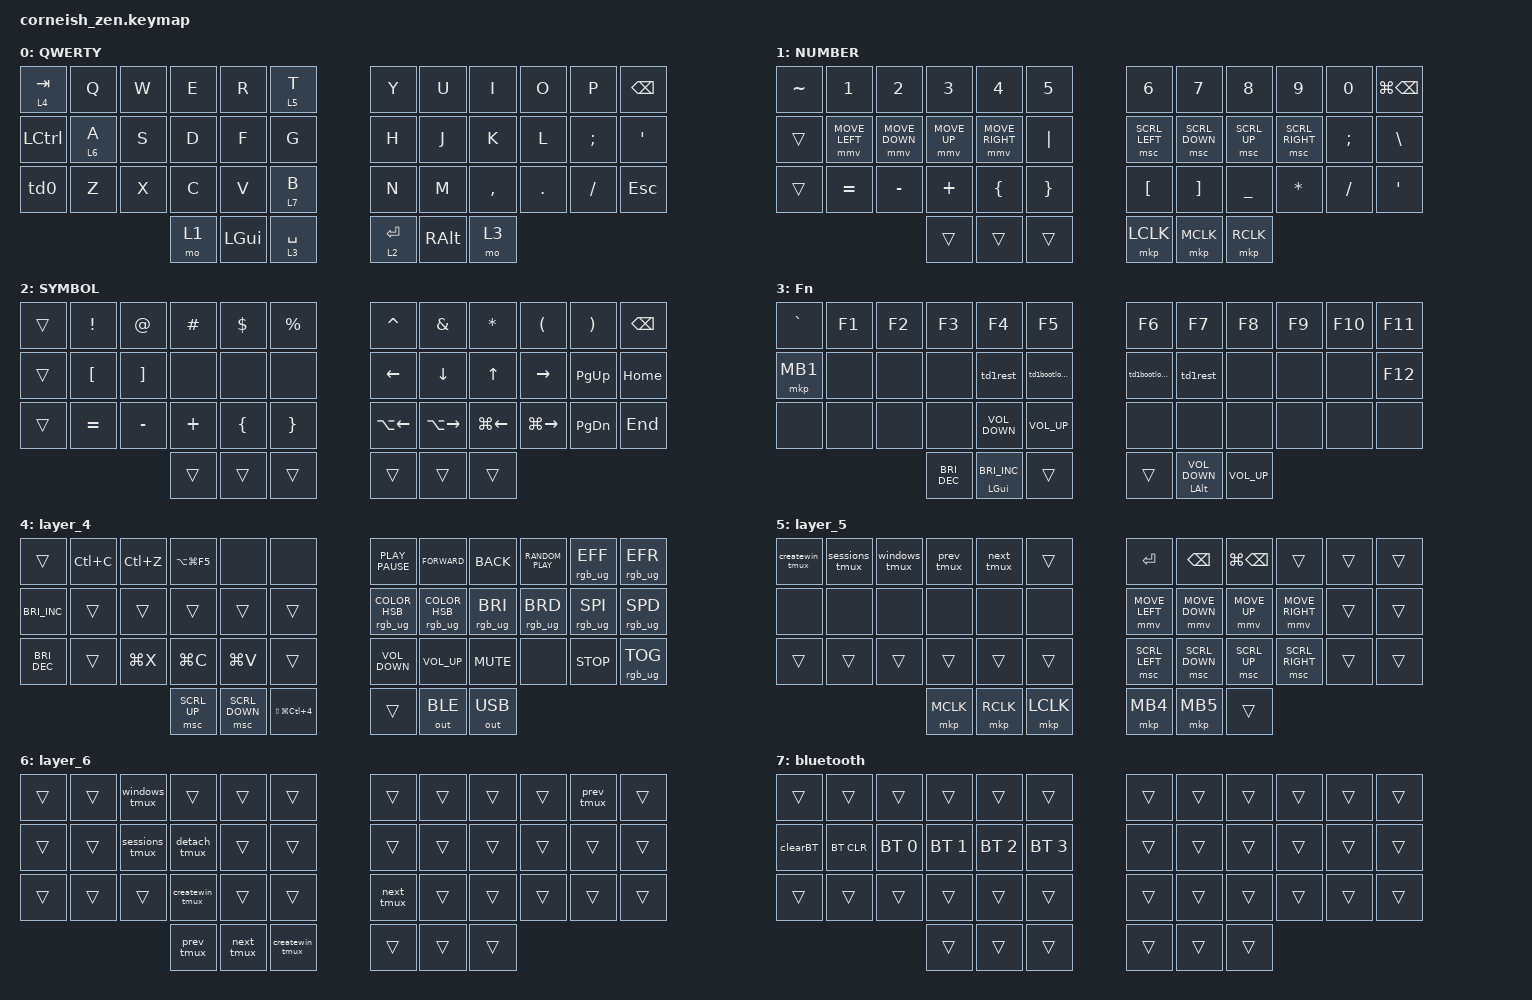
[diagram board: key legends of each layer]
/*
 * Copyright (c) 2020 The ZMK Contributors
 *
 * SPDX-License-Identifier: MIT
 */

#include <behaviors.dtsi>
#include <dt-bindings/zmk/bt.h>
#include <dt-bindings/zmk/keys.h>
#include <dt-bindings/zmk/outputs.h>
#include <dt-bindings/zmk/pointing.h>
#include <dt-bindings/zmk/rgb.h>

/ {
    chosen {
        zmk,matrix_transform = &default_transform;

        // zmk,matrix_transform = &five_column_transform;
    };
};

/ {
    behaviors {
        td0: td0 {
            compatible = "zmk,behavior-tap-dance";
            label = "TD0";
            #binding-cells = <0>;
            bindings = <&kp LEFT_SHIFT>, <&kp CAPS>;
        };

        td1rest: td1rest {
            compatible = "zmk,behavior-tap-dance";
            label = "TD1REST";
            #binding-cells = <0>;
            bindings = <&trans>, <&sys_reset>;
        };

        td1bootloader: td1bootloader {
            compatible = "zmk,behavior-tap-dance";
            label = "TD1BOOTLOADER";
            #binding-cells = <0>;
            bindings = <&none>, <&bootloader>;
        };

        td4layer4: td4layer4 {
            compatible = "zmk,behavior-hold-tap";
            label = "TD4LAYER4";
            bindings = <&lt>, <&kp>;

            #binding-cells = <2>;
            tapping-term-ms = <180>;
            flavor = "hold-preferred";
        };

        clearBT: clearBT {
            compatible = "zmk,behavior-tap-dance";
            label = "CLEARBT";
            #binding-cells = <0>;
            bindings = <&none>, <&bt BT_CLR_ALL>;
        };
    };

    macros {
        screenshot: screenshot {
            compatible = "zmk,behavior-macro";
            #binding-cells = <0>;
            bindings = <&none>;
            label = "SCREENSHOT";
        };

        next_tmux: next_tmux {
            compatible = "zmk,behavior-macro";
            #binding-cells = <0>;
            bindings = <&kp LC(A) &kp N>;
            label = "NEXT_TMUX";
        };

        prev_tmux: prev_tmux {
            compatible = "zmk,behavior-macro";
            #binding-cells = <0>;
            bindings = <&kp LC(A) &kp P>;
            label = "PREV_TMUX";
        };

        sessions_tmux: sessions_tmux {
            compatible = "zmk,behavior-macro";
            #binding-cells = <0>;
            bindings = <&kp LC(A) &kp S>;
            label = "SESSIONS_TMUX";
        };

        windows_tmux: windows_tmux {
            compatible = "zmk,behavior-macro";
            #binding-cells = <0>;
            bindings = <&kp LC(A) &kp W>;
            label = "WINDOWS_TMUX";
        };

        createwin_tmux: createwin_tmux {
            compatible = "zmk,behavior-macro";
            #binding-cells = <0>;
            bindings = <&kp LC(A) &kp C>;
            label = "CREATEWIN_TMUX";
        };

        detach_tmux: detach_tmux {
            compatible = "zmk,behavior-macro";
            #binding-cells = <0>;
            bindings = <&kp LC(A) &kp D>;
            label = "DETACH_TMUX";
        };
    };

    combos {
        compatible = "zmk,combos";

        mouser {
            bindings = <&kp RA(SPACE)>;
            key-positions = <36 37 38>;
        };
    };

    keymap {
        compatible = "zmk,keymap";

        default_layer {
            display-name = "QWERTY";

            // --------------------------------------------------------------------------------
            // |  TAB |  Q  |  W  |  E  |  R  |  T  |   |  Y  |  U   |  I  |  O  |  P  | BKSP |
            // | CTRL |  A  |  S  |  D  |  F  |  G  |   |  H  |  J   |  K  |  L  |  ;  |  '   | 
            // | SHFT |  Z  |  X  |  C  |  V  |  B  |   |  N  |  M   |  ,  |  .  |  /  | ESC  |
            //                    | GUI | LWR | SPC |   | ENT | RSE  | ALT |

            bindings = <
&lt 4 TAB  &kp Q    &kp W  &kp E  &kp R         &lt 5 T        &kp Y        &kp U          &kp I      &kp O    &kp P     &kp BSPC
&kp LCTRL  &lt 6 A  &kp S  &kp D  &kp F         &kp G          &kp H        &kp J          &kp K      &kp L    &kp SEMI  &kp SQT
&td0       &kp Z    &kp X  &kp C  &kp V         &lt 7 B        &kp N        &kp M          &kp COMMA  &kp DOT  &kp FSLH  &kp ESC
                           &mo 1  &kp LEFT_GUI  &lt 3 SPACE    &lt 2 ENTER  &kp RIGHT_ALT  &mo 3
            >;
        };

        lower_layer {
            display-name = "NUMBER";

            // -----------------------------------------------------------------------------------------
            // |  TAB |  1  |  2  |  3  |  4  |  5  |   |  6  |  7  |  8  |  9  |  0  | BKSP |
            // | BTCLR| BT1 | BT2 | BT3 | BT4 | BT5 |   | LFT | DWN |  UP | RGT |     |      |
            // | SHFT |     |     |     |     |     |   |     |     |     |     |     |      |
            //                    | GUI |     | SPC |   | ENT |     | ALT |

            bindings = <
&kp TILDE  &kp N1          &kp N2          &kp N3        &kp N4           &kp N5             &kp N6            &kp N7             &kp N8        &kp N9           &kp N0         &kp LG(BSPC)
&trans     &mmv MOVE_LEFT  &mmv MOVE_DOWN  &mmv MOVE_UP  &mmv MOVE_RIGHT  &kp PIPE           &msc SCRL_LEFT    &msc SCRL_DOWN     &msc SCRL_UP  &msc SCRL_RIGHT  &kp SEMICOLON  &kp BACKSLASH
&trans     &kp EQUAL       &kp MINUS       &kp PLUS      &kp LEFT_BRACE   &kp RIGHT_BRACE    &kp LEFT_BRACKET  &kp RIGHT_BRACKET  &kp UNDER     &kp ASTERISK     &kp SLASH      &kp APOS
                                           &trans        &trans           &trans             &mkp LCLK         &mkp MCLK          &mkp RCLK
            >;
        };

        raise_layer {
            display-name = "SYMBOL";

            // -----------------------------------------------------------------------------------------
            // |  TAB |  !  |  @  |  #  |  $  |  %  |   |  ^  |  &  |  *  |  (  |  )  | BKSP |
            // | CTRL |     |     |     |     |     |   |  -  |  =  |  [  |  ]  |  \  |  `   |
            // | SHFT |     |     |     |     |     |   |  _  |  +  |  {  |  }  | "|" |  ~   |
            //                    | GUI |     | SPC |   | ENT |     | ALT |

            bindings = <
&trans  &kp EXCL          &kp AT             &kp HASH  &kp DLLR        &kp PRCNT          &kp CARET     &kp AMPS       &kp ASTRK     &kp LPAR       &kp RPAR       &kp BSPC
&trans  &kp LEFT_BRACKET  &kp RIGHT_BRACKET  &none     &none           &none              &kp LEFT      &kp DOWN       &kp UP_ARROW  &kp RIGHT      &kp PAGE_UP    &kp HOME
&trans  &kp EQUAL         &kp MINUS          &kp PLUS  &kp LEFT_BRACE  &kp RIGHT_BRACE    &kp LA(LEFT)  &kp LA(RIGHT)  &kp LG(LEFT)  &kp LG(RIGHT)  &kp PAGE_DOWN  &kp END
                                             &trans    &trans          &trans             &trans        &trans         &trans
            >;
        };

        layer_3 {
            display-name = "Fn";
            bindings = <
&kp GRAVE  &kp F1  &kp F2  &kp F3                &kp F4                         &kp F5             &kp F6          &kp F7                      &kp F8           &kp F9  &kp F10  &kp F11
&mkp MB1   &none   &none   &none                 &td1rest                       &td1bootloader     &td1bootloader  &td1rest                    &none            &none   &none    &kp F12
&none      &none   &none   &none                 &kp C_VOLUME_DOWN              &kp C_VOLUME_UP    &none           &none                       &none            &none   &none    &none
                           &kp C_BRIGHTNESS_DEC  &mt LEFT_GUI C_BRIGHTNESS_INC  &trans             &trans          &mt LEFT_ALT C_VOLUME_DOWN  &kp C_VOLUME_UP
            >;
        };

        layer_4 {
            bindings = <
&trans                &kp LC(C)  &kp LC(Z)  &kp LA(LG(F5))  &none           &none                       &kp K_PLAY_PAUSE                   &kp K_FORWARD                   &kp K_BACK       &kp C_RANDOM_PLAY  &rgb_ug RGB_EFF  &rgb_ug RGB_EFR
&kp C_BRIGHTNESS_INC  &trans     &trans     &trans          &trans          &trans                      &rgb_ug RGB_COLOR_HSB(121,100,50)  &rgb_ug RGB_COLOR_HSB(0,96,48)  &rgb_ug RGB_BRI  &rgb_ug RGB_BRD    &rgb_ug RGB_SPI  &rgb_ug RGB_SPD
&kp C_BRIGHTNESS_DEC  &trans     &kp LG(X)  &kp LG(C)       &kp LG(V)       &trans                      &kp C_VOLUME_DOWN                  &kp C_VOLUME_UP                 &kp K_MUTE       &none              &kp K_STOP       &rgb_ug RGB_TOG
                                            &msc SCRL_UP    &msc SCRL_DOWN  &kp LS(LG(LC(NUMBER_4)))    &trans                             &out OUT_BLE                    &out OUT_USB
            >;
        };

        layer_5 {
            bindings = <
&createwin_tmux  &sessions_tmux  &windows_tmux  &prev_tmux  &next_tmux  &trans       &kp ENTER       &kp BACKSPACE   &kp LG(BACKSPACE)  &trans           &trans  &trans
&none            &none           &none          &none       &none       &none        &mmv MOVE_LEFT  &mmv MOVE_DOWN  &mmv MOVE_UP       &mmv MOVE_RIGHT  &trans  &trans
&trans           &trans          &trans         &trans      &trans      &trans       &msc SCRL_LEFT  &msc SCRL_DOWN  &msc SCRL_UP       &msc SCRL_RIGHT  &trans  &trans
                                                &mkp MCLK   &mkp RCLK   &mkp LCLK    &mkp MB4        &mkp MB5        &trans
            >;
        };

        layer_6 {
            bindings = <
&trans  &trans  &windows_tmux   &trans           &trans      &trans             &trans      &trans  &trans  &trans  &prev_tmux  &trans
&trans  &trans  &sessions_tmux  &detach_tmux     &trans      &trans             &trans      &trans  &trans  &trans  &trans      &trans
&trans  &trans  &trans          &createwin_tmux  &trans      &trans             &next_tmux  &trans  &trans  &trans  &trans      &trans
                                &prev_tmux       &next_tmux  &createwin_tmux    &trans      &trans  &trans
            >;
        };

        bluetooth {
            bindings = <
&trans    &trans      &trans        &trans        &trans        &trans          &trans  &trans  &trans  &trans  &trans  &trans
&clearBT  &bt BT_CLR  &bt BT_SEL 0  &bt BT_SEL 1  &bt BT_SEL 2  &bt BT_SEL 3    &trans  &trans  &trans  &trans  &trans  &trans
&trans    &trans      &trans        &trans        &trans        &trans          &trans  &trans  &trans  &trans  &trans  &trans
                                    &trans        &trans        &trans          &trans  &trans  &trans
            >;
        };
    };
};
